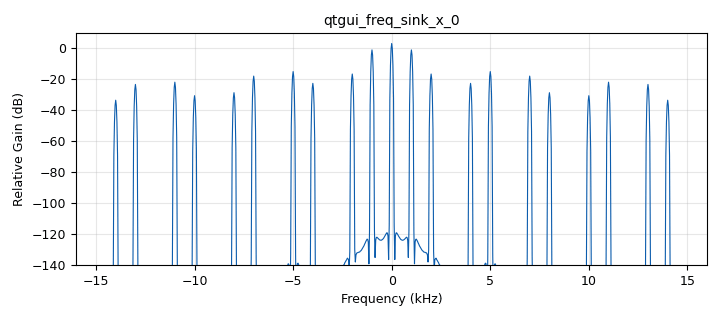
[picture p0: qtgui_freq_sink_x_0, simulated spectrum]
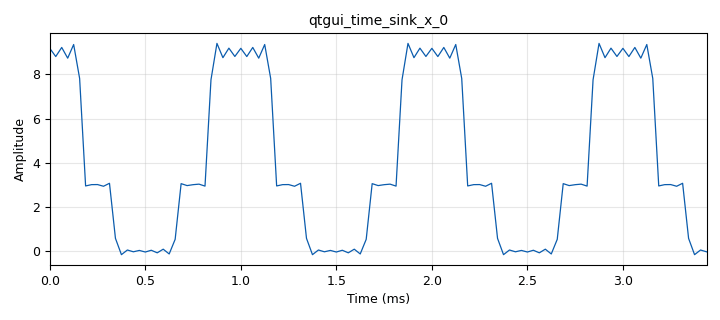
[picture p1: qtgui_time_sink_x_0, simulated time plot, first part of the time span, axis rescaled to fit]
options:
  parameters:
    generate_options: qt_gui
    id: impulsipoligonali
    output_language: python
    title: Not titled yet
  states: {}

blocks:
- name: samp_rate
  id: variable
  parameters:
    value: '32000'
  states: {}
- name: analog_sig_source_x_0
  id: analog_sig_source_x
  parameters:
    amp: '4'
    freq: '0'
    offset: '0'
    phase: '0'
    samp_rate: samp_rate
    type: float
    waveform: analog.GR_CONST_WAVE
  states: {}
- name: analog_sig_source_x_1
  id: analog_sig_source_x
  parameters:
    amp: '4.9619'
    freq: '1000'
    offset: '0'
    phase: '0'
    samp_rate: samp_rate
    type: float
    waveform: analog.GR_COS_WAVE
  states: {}
- name: analog_sig_source_x_1_0
  id: analog_sig_source_x
  parameters:
    amp: '0.8269'
    freq: '2000'
    offset: '0'
    phase: '0'
    samp_rate: samp_rate
    type: float
    waveform: analog.GR_COS_WAVE
  states: {}
- name: analog_sig_source_x_1_1
  id: analog_sig_source_x
  parameters:
    amp: '0.4134'
    freq: '4000'
    offset: '0'
    phase: '3.14'
    samp_rate: samp_rate
    type: float
    waveform: analog.GR_COS_WAVE
  states: {}
- name: analog_sig_source_x_1_2
  id: analog_sig_source_x
  parameters:
    amp: '0.9923'
    freq: '5000'
    offset: '0'
    phase: '3.14'
    samp_rate: samp_rate
    type: float
    waveform: analog.GR_COS_WAVE
  states: {}
- name: analog_sig_source_x_1_3
  id: analog_sig_source_x
  parameters:
    amp: '0.7088'
    freq: '7000'
    offset: '0'
    phase: '0'
    samp_rate: samp_rate
    type: float
    waveform: analog.GR_COS_WAVE
  states: {}
- name: analog_sig_source_x_1_4
  id: analog_sig_source_x
  parameters:
    amp: '0.2067'
    freq: '8000'
    offset: '0'
    phase: '0'
    samp_rate: samp_rate
    type: float
    waveform: analog.GR_COS_WAVE
  states: {}
- name: analog_sig_source_x_1_4_0
  id: analog_sig_source_x
  parameters:
    amp: '0.1653'
    freq: '10000'
    offset: '0'
    phase: '3.14'
    samp_rate: samp_rate
    type: float
    waveform: analog.GR_COS_WAVE
  states: {}
- name: analog_sig_source_x_1_4_1
  id: analog_sig_source_x
  parameters:
    amp: '0.4510'
    freq: '11000'
    offset: '0'
    phase: '3.14'
    samp_rate: samp_rate
    type: float
    waveform: analog.GR_COS_WAVE
  states: {}
- name: analog_sig_source_x_1_4_2
  id: analog_sig_source_x
  parameters:
    amp: '0.3816'
    freq: '13000'
    offset: '0'
    phase: '0'
    samp_rate: samp_rate
    type: float
    waveform: analog.GR_COS_WAVE
  states: {}
- name: analog_sig_source_x_1_4_3
  id: analog_sig_source_x
  parameters:
    amp: '0.1181'
    freq: '14000'
    offset: '0'
    phase: '0'
    samp_rate: samp_rate
    type: float
    waveform: analog.GR_COS_WAVE
  states: {}
- name: blocks_add_xx_0
  id: blocks_add_xx
  parameters:
    num_inputs: '11'
    type: float
  states: {}
- name: blocks_throttle_0
  id: blocks_throttle
  parameters:
    samples_per_second: samp_rate
    type: float
  states: {}
- name: qtgui_freq_sink_x_0
  id: qtgui_freq_sink_x
  parameters:
    bw: samp_rate
    fc: '0'
    fftsize: '1024'
    type: float
  states: {}
- name: qtgui_time_sink_x_0
  id: qtgui_time_sink_x
  parameters:
    size: '1024'
    srate: samp_rate
    type: float
  states: {}

connections:
- [analog_sig_source_x_0, '0', blocks_add_xx_0, '0']
- [analog_sig_source_x_1, '0', blocks_add_xx_0, '1']
- [analog_sig_source_x_1_0, '0', blocks_add_xx_0, '2']
- [analog_sig_source_x_1_1, '0', blocks_add_xx_0, '3']
- [analog_sig_source_x_1_2, '0', blocks_add_xx_0, '4']
- [analog_sig_source_x_1_3, '0', blocks_add_xx_0, '5']
- [analog_sig_source_x_1_4, '0', blocks_add_xx_0, '6']
- [analog_sig_source_x_1_4_0, '0', blocks_add_xx_0, '7']
- [analog_sig_source_x_1_4_1, '0', blocks_add_xx_0, '8']
- [analog_sig_source_x_1_4_2, '0', blocks_add_xx_0, '9']
- [analog_sig_source_x_1_4_3, '0', blocks_add_xx_0, '10']
- [blocks_add_xx_0, '0', blocks_throttle_0, '0']
- [blocks_throttle_0, '0', qtgui_freq_sink_x_0, '0']
- [blocks_throttle_0, '0', qtgui_time_sink_x_0, '0']

metadata:
  file_format: 1
  grc_version: 3.10.5.1
